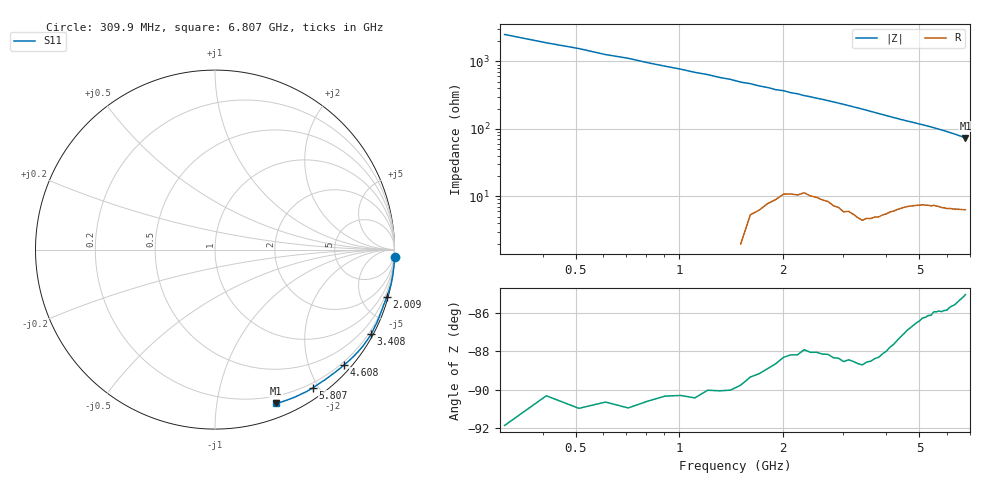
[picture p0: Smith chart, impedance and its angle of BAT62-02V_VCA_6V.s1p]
! Infineon Technologies  Discrete & RF Semiconductors
! BAT62-02V
! VCA = 6 V
! One-Port S-Parameters
# Hz  S  MA  R  50
!f  S11
!Hz  Mag  Ang
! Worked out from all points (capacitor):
!   66 points, 309.9 MHz to 6.807 GHz, reference 50 ohm
!   read as one part to ground: C = 204 fF near 309.9 MHz
!   lowest |Z| = 73.6 ohm at 6.807 GHz (marker M1)
!   S11 on the Smith chart (normalised r, x): 309.9 MHz: -2, -50; 2.009 GHz: 0.22, -7.38; 3.408 GHz: 0.09, -3.94; 4.608 GHz: 0.14, -2.61; 5.807 GHz: 0.14, -1.93; 6.807 GHz: 0.13, -1.47
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3.0985e8  1.001 -2.3
7.0965e8  1.002 -5.1
1.10945e9  1.001 -8.3
1.2094e9  1 -8.9
1.30935e9  1 -9.8
1.4093e9  1 -10.5
1.50925e9  0.9992 -11.6
1.6092e9  0.9976 -12.2
1.70915e9  0.9967 -13.2
1.8091e9  0.9954 -13.9
1.90905e9  0.994 -14.9
2.009e9  0.9923 -15.4
2.10895e9  0.9911 -16.5
2.2089e9  0.9907 -17.1
2.30885e9  0.9887 -18.2
2.6087e9  0.9887 -20.6
2.8086e9  0.989 -22.5
3.0085e9  0.9896 -24.4
3.4083e9  0.9894 -28.5
3.6082e9  0.9869 -30.7
4.008e9  0.9801 -35.2
4.4078e9  0.9699 -39.7
4.6077e9  0.9646 -41.8
5.2074e9  0.9524 -47.8
5.8071e9  0.9437 -54.7
6.007e9  0.9411 -57.2
6.4068e9  0.9327 -62.5
6.8066e9  0.9227 -68.3
